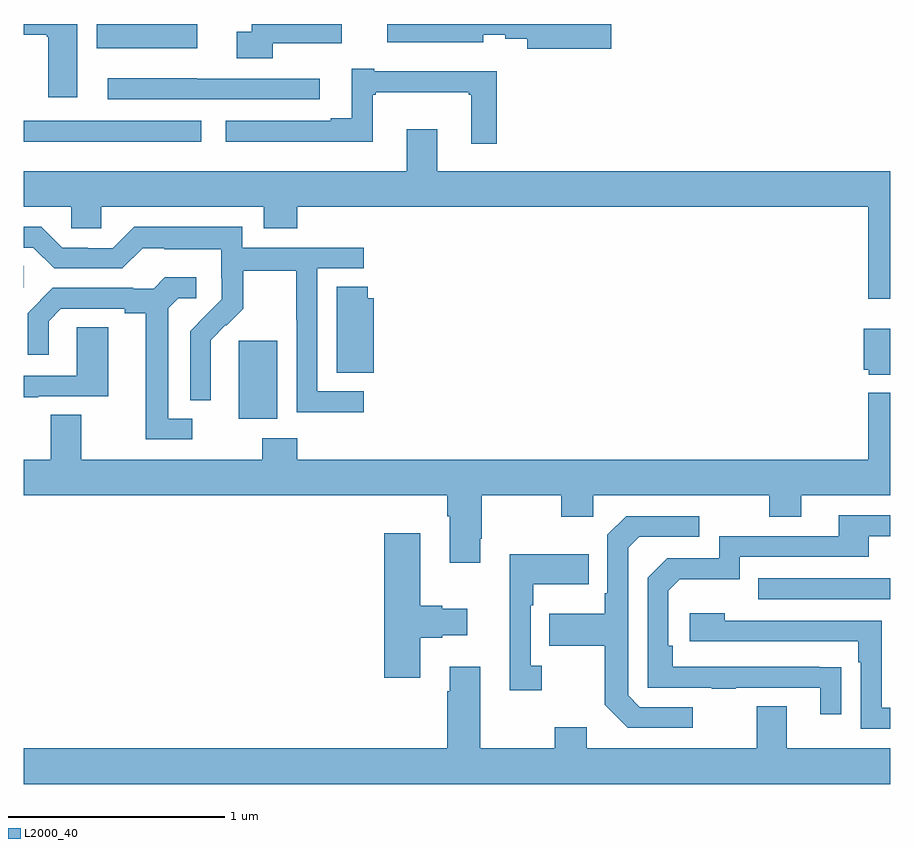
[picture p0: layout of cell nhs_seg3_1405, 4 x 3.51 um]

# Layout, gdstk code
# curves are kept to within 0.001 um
import gdstk
lib = gdstk.Library(unit=1e-6, precision=1e-09)
def R(c, l, rs):  # rectangles x0, y0, x1, y1
    for r in rs: c.add(gdstk.rectangle(r[:2], r[2:], *l))
def P(c, l, *ps):  # polygons
    for p in ps: c.add(gdstk.Polygon(p, *l))
L2000_40 = (2000, 40)

nhs_seg3_1405 = lib.new_cell('nhs_seg3_1405')
R(nhs_seg3_1405, L2000_40, [(186.391,725.745,187,725.841), (183.992,726.578,184.171,726.939), (183,727.182,183.001,727.283), (183,727.856,183.82,727.953), (183.338,728.288,183.802,728.4)])
P(nhs_seg3_1405, L2000_40, [(185.713,728.4),(184.679,728.4),(184.679,728.315),(185.122,728.315),(185.122,728.351),(185.223,728.351),(185.223,728.332),(185.324,728.332),(185.324,728.285),(185.713,728.285)],
  [(183.247,728.4),(183,728.4),(183,728.351),(183.106,728.351),(183.106,728.34),(183.113,728.34),(183.113,728.061),(183.247,728.061)],
  [(184.149,728.312),(184.468,728.312),(184.468,728.4),(184.053,728.4),(184.053,728.365),(183.984,728.365),(183.984,728.243),(184.149,728.243)],
  [(185.183,728.182),(184.618,728.182),(184.618,728.194),(184.514,728.194),(184.514,727.966),(184.418,727.966),(184.418,727.953),(183.933,727.953),(183.933,727.856),(184.612,727.856),(184.612,728.073),(184.624,728.073),(184.624,728.084),(185.055,728.084),(185.055,728.073),(185.066,728.073),(185.066,727.848),(185.183,727.848)],
  [(184.366,728.148),(183.798,728.148),(183.798,728.149),(183.387,728.149),(183.387,728.052),(184.366,728.052)],
  [(187,727.72),(184.909,727.72),(184.909,727.915),(184.769,727.915),(184.769,727.72),(183,727.72),(183,727.556),(183.219,727.556),(183.219,727.458),(183.357,727.458),(183.357,727.556),(184.109,727.556),(184.109,727.457),(184.262,727.457),(184.262,727.556),(186.899,727.556),(186.899,727.131),(187,727.131)],
  [(184.57,726.705),(184.356,726.705),(184.356,727.272),(184.57,727.272),(184.57,727.368),(184.008,727.368),(184.008,727.465),(183.511,727.465),(183.411,727.365),(183.296,727.365),(183.296,727.368),(183.177,727.368),(183.081,727.464),(183,727.464),(183,727.368),(183.045,727.368),(183.141,727.272),(183.456,727.272),(183.549,727.365),(183.649,727.365),(183.649,727.361),(183.912,727.361),(183.912,727.227),(183.914,727.227),(183.914,727.13),(183.768,726.982),(183.768,726.664),(183.864,726.664),(183.863,726.941),(183.933,727.011),(183.936,727.008),(184.013,727.085),(184.013,727.26),(184.258,727.26),(184.258,727.036),(184.26,727.036),(184.26,726.607),(184.57,726.607)],
  [(183.778,726.579),(183.667,726.579),(183.667,727.087),(183.714,727.134),(183.796,727.134),(183.796,727.231),(183.652,727.231),(183.6,727.179),(183.506,727.179),(183.506,727.182),(183.134,727.182),(183.018,727.066),(183.018,726.873),(183.115,726.873),(183.115,727.029),(183.172,727.086),(183.467,727.086),(183.467,727.064),(183.563,727.064),(183.563,726.483),(183.778,726.483)],
  [(184.616,727.134),(184.589,727.134),(184.589,727.187),(184.445,727.187),(184.445,726.79),(184.616,726.79)],
  [(183.067,726.681),(183.391,726.681),(183.391,727.001),(183.246,727.001),(183.246,726.777),(183,726.777),(183,726.677),(183.067,726.677)],
  [(187,726.994),(186.878,726.994),(186.878,726.804),(186.9,726.804),(186.9,726.782),(187,726.782)],
  [(185.107,726.025),(185.115,726.025),(185.115,726.224),(185.482,726.224),(185.482,726.125),(185.628,726.125),(185.628,726.224),(186.442,726.224),(186.442,726.125),(186.589,726.125),(186.589,726.224),(187,726.224),(187,726.697),(186.899,726.697),(186.899,726.388),(184.262,726.388),(184.262,726.487),(184.102,726.487),(184.102,726.388),(183.265,726.388),(183.265,726.596),(183.125,726.596),(183.125,726.388),(183,726.388),(183,726.224),(184.955,726.224),(184.955,726.128),(184.967,726.128),(184.967,725.913),(185.107,725.913)],
  [(186.773,725.432),(185.996,725.433),(185.996,725.53),(185.976,725.53),(185.976,725.784),(186.029,725.837),(186.306,725.837),(186.306,725.94),(186.901,725.94),(186.901,726.036),(187,726.036),(187,726.132),(186.761,726.132),(186.761,726.036),(186.21,726.036),(186.21,725.934),(185.97,725.934),(185.88,725.844),(185.88,725.337),(186.175,725.337),(186.175,725.332),(186.287,725.332),(186.287,725.337),(186.677,725.337),(186.677,725.214),(186.773,725.214)],
  [(186.088,725.247),(185.844,725.247),(185.79,725.301),(185.79,725.982),(185.841,726.033),(186.118,726.033),(186.118,726.129),(185.781,726.129),(185.694,726.042),(185.694,725.773),(185.682,725.773),(185.682,725.677),(185.425,725.677),(185.425,725.53),(185.682,725.53),(185.682,725.257),(185.787,725.151),(186.088,725.151)],
  [(184.831,725.567),(184.931,725.567),(184.931,725.579),(185.047,725.579),(185.047,725.701),(184.931,725.701),(184.931,725.714),(184.831,725.714),(184.831,726.049),(184.664,726.049),(184.664,725.382),(184.831,725.382)],
  [(185.392,725.438),(185.34,725.438),(185.34,725.717),(185.353,725.717),(185.353,725.813),(185.609,725.813),(185.609,725.953),(185.243,725.953),(185.243,725.325),(185.392,725.325)],
  [(187,725.244),(186.96,725.244),(186.96,725.646),(186.236,725.646),(186.236,725.68),(186.075,725.68),(186.075,725.55),(186.851,725.55),(186.851,725.453),(186.864,725.453),(186.864,725.148),(187,725.148)],
  [(187,725.056),(186.523,725.056),(186.523,725.251),(186.383,725.251),(186.383,725.056),(185.599,725.056),(185.599,725.155),(185.452,725.155),(185.452,725.056),(185.107,725.056),(185.107,725.434),(184.967,725.434),(184.967,725.321),(184.955,725.321),(184.955,725.056),(183,725.056),(183,724.892),(187,724.892)])

lib.write_gds('nhs_seg3_1405.gds')
